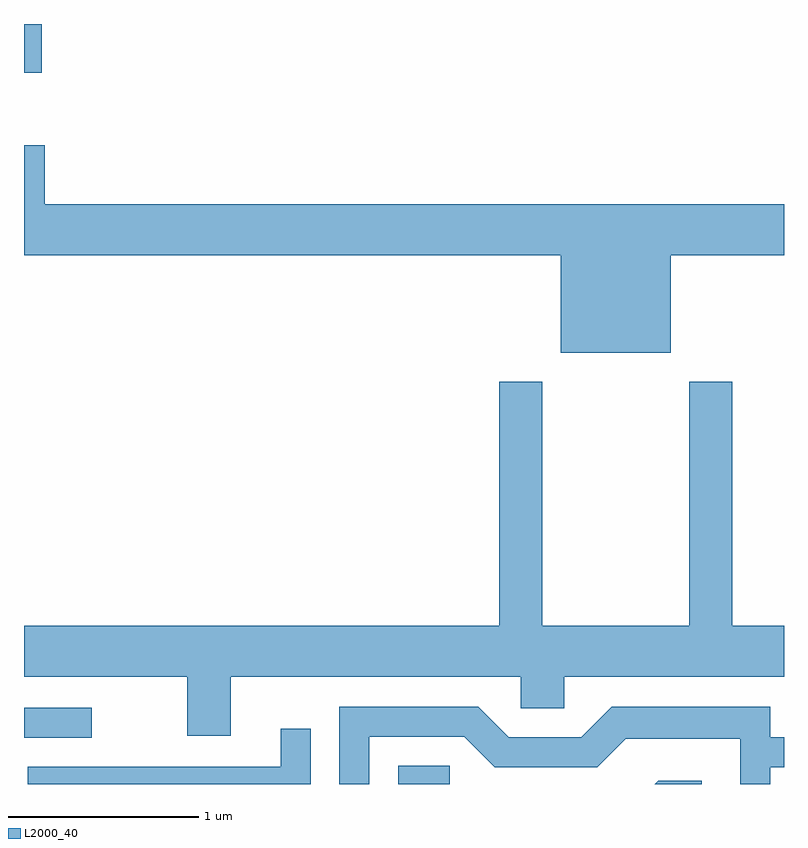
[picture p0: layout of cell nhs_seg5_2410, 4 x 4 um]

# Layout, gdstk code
import gdstk
lib = gdstk.Library(unit=1e-6, precision=1e-09)
def R(c, l, rs):  # rectangles x0, y0, x1, y1
    for r in rs: c.add(gdstk.rectangle(r[:2], r[2:], *l))
def P(c, l, *ps):  # polygons
    for p in ps: c.add(gdstk.Polygon(p, *l))
L2000_40 = (2000, 40)

nhs_seg5_2410 = lib.new_cell('nhs_seg5_2410')
R(nhs_seg5_2410, L2000_40, [(259.581,1394.072,259.853,1394.169), (257.611,1394.316,257.968,1394.474), (257.611,1397.816,257.704,1398.072)])
P(nhs_seg5_2410, L2000_40, [(261.014,1396.856),(261.611,1396.856),(261.611,1397.124),(257.719,1397.124),(257.719,1397.434),(257.611,1397.434),(257.611,1396.856),(260.436,1396.856),(260.436,1396.341),(261.014,1396.341)],
  [(258.699,1394.636),(260.226,1394.636),(260.226,1394.471),(260.454,1394.471),(260.454,1394.636),(261.611,1394.636),(261.611,1394.904),(261.339,1394.904),(261.339,1396.189),(261.111,1396.189),(261.111,1394.904),(260.339,1394.904),(260.339,1396.189),(260.111,1396.189),(260.111,1394.904),(257.611,1394.904),(257.611,1394.636),(258.471,1394.636),(258.471,1394.326),(258.699,1394.326)],
  [(259.429,1394.321),(259.929,1394.321),(260.089,1394.161),(260.627,1394.161),(260.777,1394.311),(261.381,1394.311),(261.381,1394.072),(261.539,1394.072),(261.539,1394.161),(261.611,1394.161),(261.611,1394.319),(261.539,1394.319),(261.539,1394.479),(260.704,1394.479),(260.544,1394.319),(260.162,1394.319),(260.002,1394.479),(259.271,1394.479),(259.271,1394.072),(259.429,1394.072)],
  [(259.119,1394.363),(258.961,1394.363),(258.961,1394.164),(257.631,1394.164),(257.631,1394.072),(259.119,1394.072)],
  [(261.178,1394.089),(260.949,1394.089),(260.932,1394.072),(261.178,1394.072)])

lib.write_gds('nhs_seg5_2410.gds')
